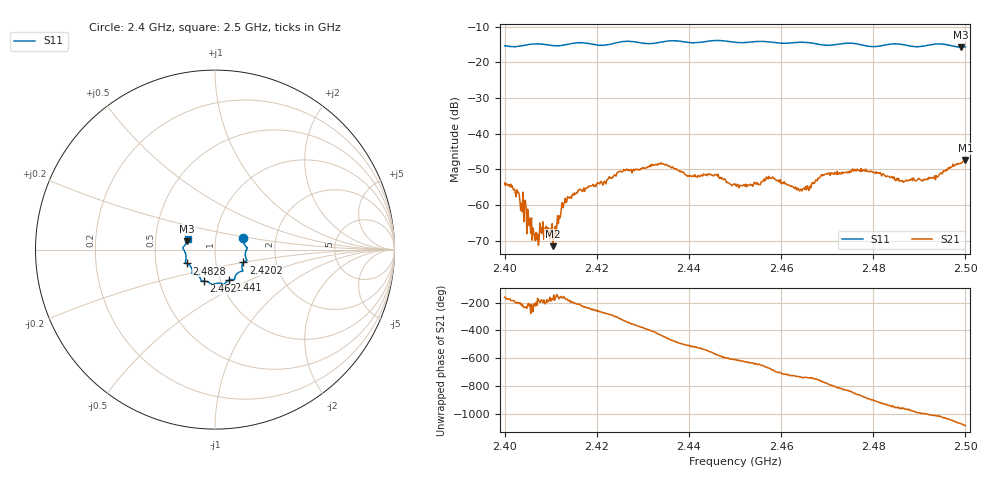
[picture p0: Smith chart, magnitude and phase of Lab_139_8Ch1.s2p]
# Hz S RI R 50
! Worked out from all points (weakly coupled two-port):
!   601 points, 2.4 GHz to 2.5 GHz, reference 50 ohm
!   highest |S21| = -47.50 dB at 2.5 GHz (marker M1); lowest = -71.6 dB at 2.4105 GHz (marker M2)
!   lowest |S11| = -15.8 dB at 2.499 GHz (marker M3), VSWR 1.39, Z = 36.4 + j3.48 ohm
!   |S11| at or under -10 dB: start of sweep to end of sweep
!   S12 and S22 are empty: the file has one direction only
!   S11 on the Smith chart (normalised r, x): 2.4 GHz: 1.36, +0.18; 2.4202 GHz: 1.36, -0.20; 2.441 GHz: 1.10, -0.39; 2.462 GHz: 0.84, -0.30; 2.4828 GHz: 0.72, -0.11; 2.5 GHz: 0.73, +0.09
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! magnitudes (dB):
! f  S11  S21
! 2.4 GHz  -15.4  -53.8
! 2.4027 GHz  -15.6  -55.8
! 2.407 GHz  -14.9  -69.8
! 2.4082 GHz  -14.9  -68.0
! 2.4105 GHz  -15.4  -71.6
! 2.4128 GHz  -15.2  -59.6
! 2.4167 GHz  -14.5  -55.9
! 2.4202 GHz  -15.2  -53.8
! 2.4333 GHz  -14.5  -48.4
! 2.441 GHz  -14.6  -51.7
! 2.4458 GHz  -13.9  -51.5
! 2.45 GHz  -14.4  -54.1
! 2.4578 GHz  -14.4  -52.5
! 2.462 GHz  -14.6  -54.7
! 2.4667 GHz  -14.6  -53.9
! 2.4692 GHz  -15.2  -51.5
! 2.476 GHz  -14.8  -50.0
! 2.4828 GHz  -15.1  -52.1
! 2.4833 GHz  -15.0  -52.0
! 2.491 GHz  -15.5  -52.8
! 2.499 GHz  -15.8  -48.3
! 2.5 GHz  -15.7  -47.5
